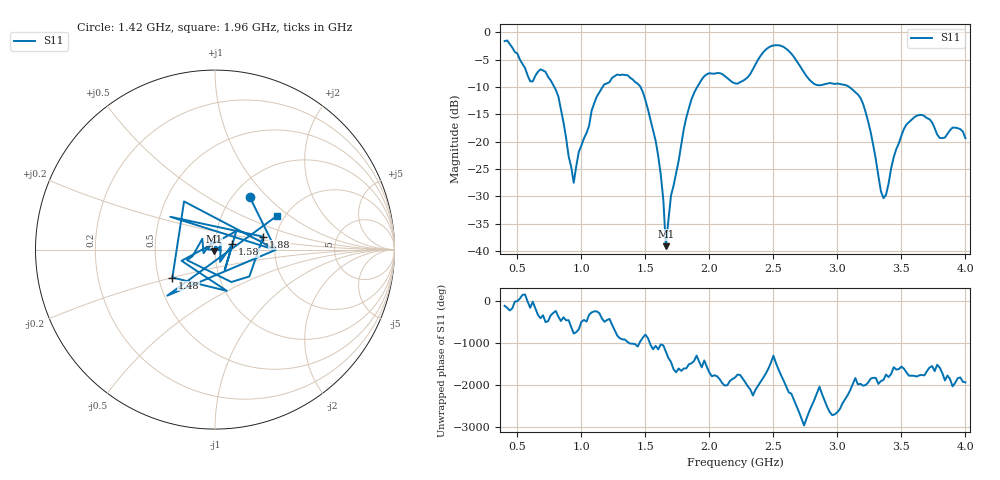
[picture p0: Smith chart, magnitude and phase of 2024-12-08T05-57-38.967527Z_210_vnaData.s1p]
!Created with skrf (http://scikit-rf.org).
# Hz S RI R 50.0
!freq ReS11 ImS11
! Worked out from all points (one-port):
!   181 points, 400 MHz to 4 GHz, reference 50 ohm
!   lowest |S11| = -39.1 dB at 1.66 GHz (marker M1), VSWR 1.02, Z = 49.4 - j0.934 ohm
!   |S11| at or under -10 dB: 787.8 MHz to 1.166 GHz (378.2 MHz wide, 38.7 % of centre); 1.461 GHz to 1.906 GHz (444 MHz wide, 26.4 % of centre); 3.09 GHz to end of sweep
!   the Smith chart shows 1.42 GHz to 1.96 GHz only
!   S11 on the Smith chart (normalised r, x): 1.42 GHz: 1.20, +0.79; 1.48 GHz: 0.59, -0.20; 1.58 GHz: 1.21, +0.07; 1.88 GHz: 1.71, +0.27; 1.96 GHz: 1.83, +0.82
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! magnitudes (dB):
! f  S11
! 400 MHz  -1.7
! 600 MHz  -9.0
! 720 MHz  -7.3
! 820 MHz  -11.8
! 860 MHz  -16.5
! 940 MHz  -27.5
! 980 MHz  -21.9
! 1.12 GHz  -11.8
! 1.3 GHz  -7.8
! 1.42 GHz  -9.1
! 1.48 GHz  -10.9
! 1.58 GHz  -19.8
! 1.64 GHz  -30.6
! 1.66 GHz  -39.1
! 1.7 GHz  -29.9
! 1.76 GHz  -23.5
! 1.88 GHz  -11.1
! 1.96 GHz  -8.0
! 2.2 GHz  -9.3
! 2.48 GHz  -2.6
! 2.66 GHz  -4.5
! 2.82 GHz  -9.5
! 3.1 GHz  -10.2
! 3.22 GHz  -14.6
! 3.36 GHz  -30.3
! 3.46 GHz  -21.4
! 3.56 GHz  -16.4
! 4 GHz  -19.4
